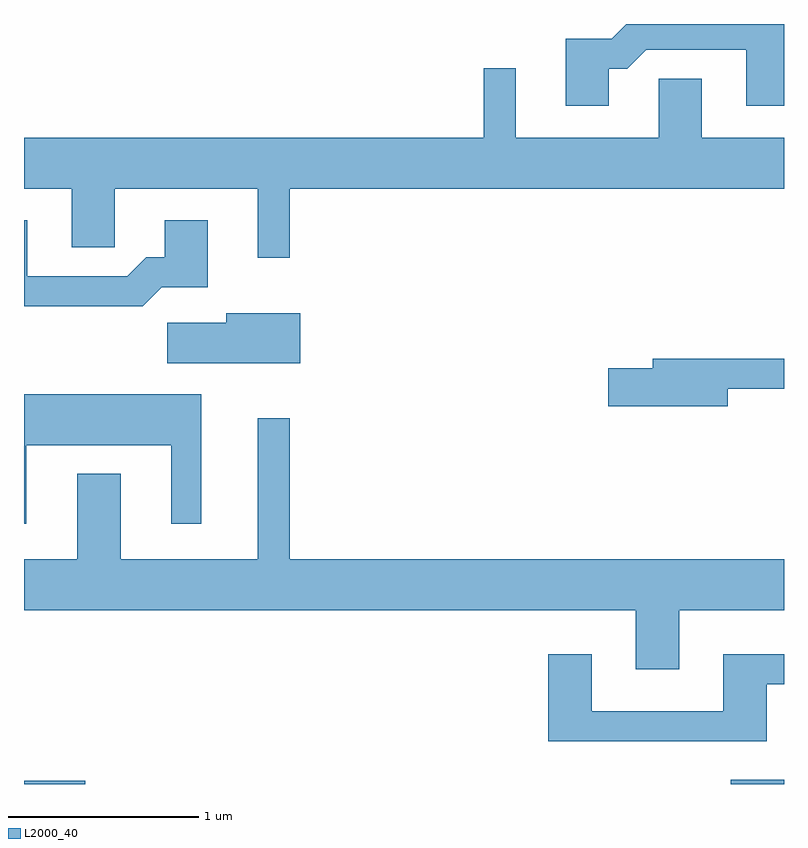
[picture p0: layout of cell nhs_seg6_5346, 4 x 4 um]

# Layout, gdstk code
import gdstk
lib = gdstk.Library(unit=1e-6, precision=1e-09)
def R(c, l, rs):  # rectangles x0, y0, x1, y1
    for r in rs: c.add(gdstk.rectangle(r[:2], r[2:], *l))
def P(c, l, *ps):  # polygons
    for p in ps: c.add(gdstk.Polygon(p, *l))
L2000_40 = (2000, 40)

nhs_seg6_5346 = lib.new_cell('nhs_seg6_5346')
R(nhs_seg6_5346, L2000_40, [(347.611,1620.162,347.934,1620.179), (351.331,1620.162,351.611,1620.184)])
P(nhs_seg6_5346, L2000_40, [(350.689,1623.926),(350.787,1623.926),(350.887,1624.026),(351.411,1624.026),(351.411,1623.731),(351.611,1623.731),(351.611,1624.162),(350.782,1624.162),(350.704,1624.084),(350.461,1624.084),(350.461,1623.731),(350.689,1623.731)],
  [(349.009,1623.296),(351.611,1623.296),(351.611,1623.564),(351.179,1623.564),(351.179,1623.874),(350.951,1623.874),(350.951,1623.564),(350.199,1623.564),(350.199,1623.928),(350.031,1623.928),(350.031,1623.564),(347.611,1623.564),(347.611,1623.296),(347.861,1623.296),(347.861,1622.986),(348.089,1622.986),(348.089,1623.296),(348.841,1623.296),(348.841,1622.933),(349.009,1622.933)],
  [(348.337,1622.776),(348.579,1622.776),(348.579,1623.129),(348.351,1623.129),(348.351,1622.934),(348.254,1622.934),(348.154,1622.834),(347.629,1622.834),(347.629,1623.129),(347.611,1623.129),(347.611,1622.676),(348.237,1622.676)],
  [(349.064,1622.639),(348.676,1622.639),(348.676,1622.589),(348.366,1622.589),(348.366,1622.376),(349.064,1622.376)],
  [(351.314,1622.241),(351.611,1622.241),(351.611,1622.399),(350.921,1622.399),(350.921,1622.349),(350.686,1622.349),(350.686,1622.151),(351.314,1622.151)],
  [(347.624,1621.946),(348.386,1621.946),(348.386,1621.533),(348.544,1621.533),(348.544,1622.214),(347.611,1622.214),(347.611,1621.533),(347.624,1621.533)],
  [(351.059,1621.076),(351.611,1621.076),(351.611,1621.344),(349.009,1621.344),(349.009,1622.088),(348.841,1622.088),(348.841,1621.344),(348.119,1621.344),(348.119,1621.794),(347.891,1621.794),(347.891,1621.344),(347.611,1621.344),(347.611,1621.076),(350.831,1621.076),(350.831,1620.766),(351.059,1620.766)],
  [(351.519,1620.686),(351.611,1620.686),(351.611,1620.844),(351.291,1620.844),(351.291,1620.544),(350.599,1620.544),(350.599,1620.844),(350.371,1620.844),(350.371,1620.386),(351.519,1620.386)])

lib.write_gds('nhs_seg6_5346.gds')
